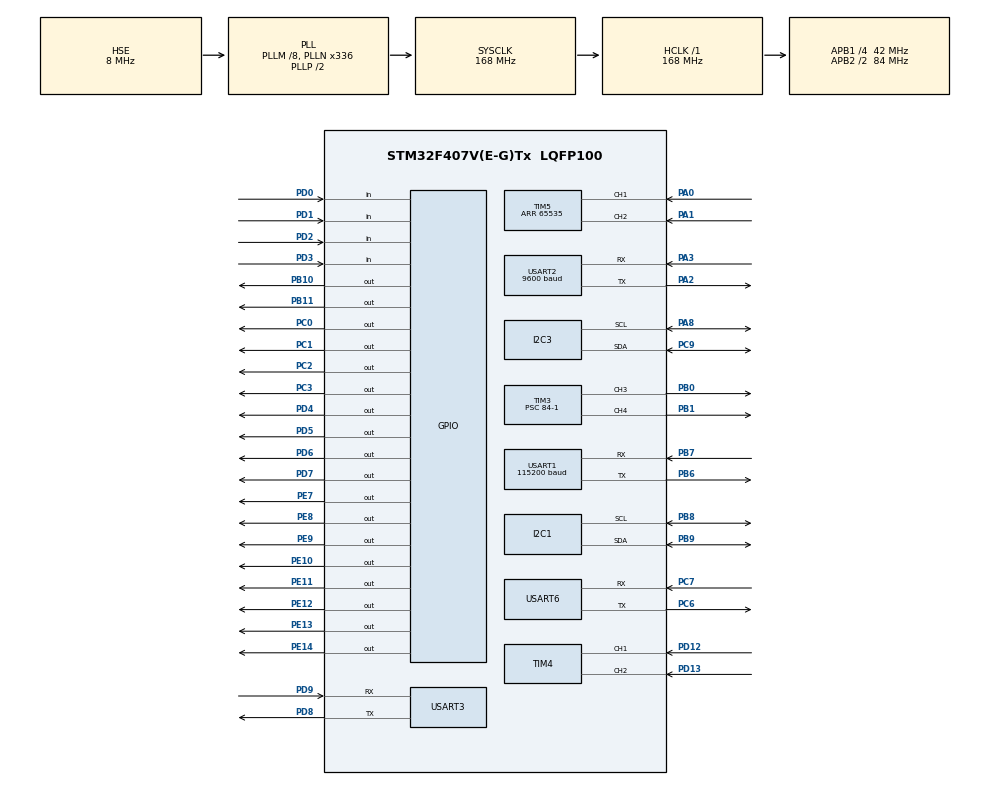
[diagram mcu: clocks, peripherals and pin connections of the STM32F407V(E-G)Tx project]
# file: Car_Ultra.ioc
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Mcu.Family=STM32F4
Mcu.Name=STM32F407V(E-G)Tx
Mcu.Package=LQFP100
NVIC.PriorityGroup=NVIC_PRIORITYGROUP_4
NVIC.TIM1_BRK_TIM9_IRQn=true\:0\:0\:false\:false\:true\:true\:true\:true
NVIC.TIM2_IRQn=true\:0\:0\:false\:false\:true\:true\:true\:true
NVIC.TIM3_IRQn=true\:0\:0\:false\:false\:true\:true\:true\:true
NVIC.TIM8_BRK_TIM12_IRQn=true\:0\:0\:false\:false\:true\:true\:true\:true
NVIC.TIM8_UP_TIM13_IRQn=true\:0\:0\:false\:false\:true\:true\:true\:true
NVIC.USART1_IRQn=true\:0\:0\:false\:false\:true\:true\:true\:true
NVIC.USART2_IRQn=true\:0\:0\:false\:false\:true\:true\:true\:true
NVIC.USART3_IRQn=true\:0\:0\:false\:false\:true\:true\:true\:true
PA0-WKUP.Signal=S_TIM5_CH1
PA1.Signal=S_TIM5_CH2
PA13.Mode=Trace_Synchro_1bit_SW
PA13.Signal=SYS_JTMS-SWDIO
PA14.Mode=Trace_Synchro_1bit_SW
PA14.Signal=SYS_JTCK-SWCLK
PA2.Mode=Asynchronous
PA2.Signal=USART2_TX
PA3.Mode=Asynchronous
PA3.Signal=USART2_RX
PA8.Mode=I2C
PA8.Signal=I2C3_SCL
PB0.Signal=S_TIM3_CH3
PB1.Signal=S_TIM3_CH4
PB10.Signal=GPIO_Output
PB11.Signal=GPIO_Output
PB6.Mode=Asynchronous
PB6.Signal=USART1_TX
PB7.Mode=Asynchronous
PB7.Signal=USART1_RX
PB8.Mode=I2C
PB8.Signal=I2C1_SCL
PB9.Mode=I2C
PB9.Signal=I2C1_SDA
PC0.Signal=GPIO_Output
PC1.Signal=GPIO_Output
PC2.Signal=GPIO_Output
PC3.Signal=GPIO_Output
PC6.Mode=Asynchronous
PC6.Signal=USART6_TX
PC7.Mode=Asynchronous
PC7.Signal=USART6_RX
PC9.Mode=I2C
PC9.Signal=I2C3_SDA
PD0.GPIO_PuPd=GPIO_NOPULL
PD0.Signal=GPIO_Input
PD1.GPIO_PuPd=GPIO_PULLUP
PD1.Signal=GPIO_Input
PD12.Signal=S_TIM4_CH1
PD13.Signal=S_TIM4_CH2
PD2.GPIO_PuPd=GPIO_PULLUP
PD2.Signal=GPIO_Input
PD3.GPIO_PuPd=GPIO_PULLUP
PD3.Signal=GPIO_Input
PD4.GPIO_PuPd=GPIO_PULLUP
PD4.Signal=GPIO_Output
PD5.Signal=GPIO_Output
PD6.Signal=GPIO_Output
PD7.Signal=GPIO_Output
PD8.Mode=Asynchronous
PD8.Signal=USART3_TX
PD9.Mode=Asynchronous
PD9.Signal=USART3_RX
PE10.Signal=GPIO_Output
PE11.Signal=GPIO_Output
PE12.Signal=GPIO_Output
PE13.Signal=GPIO_Output
PE14.Signal=GPIO_Output
PE2.Mode=Trace_Synchro_1bit_SW
PE2.Signal=SYS_TRACECLK
PE3.Mode=Trace_Synchro_1bit_SW
PE3.Signal=SYS_TRACED0
PE7.Signal=GPIO_Output
PE8.Signal=GPIO_Output
PE9.Signal=GPIO_Output
PH0-OSC_IN.Mode=HSE-External-Oscillator
PH0-OSC_IN.Signal=RCC_OSC_IN
PH1-OSC_OUT.Mode=HSE-External-Oscillator
PH1-OSC_OUT.Signal=RCC_OSC_OUT
ProjectManager.HeapSize=0x200
ProjectManager.StackSize=0x400
ProjectManager.TargetToolchain=MDK-ARM V5.32
RCC.48MHZClocksFreq_Value=84000000
RCC.AHBFreq_Value=168000000
RCC.APB1CLKDivider=RCC_HCLK_DIV4
RCC.APB1Freq_Value=42000000
RCC.APB1TimFreq_Value=84000000
RCC.APB2CLKDivider=RCC_HCLK_DIV2
RCC.APB2Freq_Value=84000000
RCC.APB2TimFreq_Value=168000000
RCC.CortexFreq_Value=168000000
RCC.HCLKFreq_Value=168000000
RCC.HSE_VALUE=8000000
RCC.HSI_VALUE=16000000
RCC.LSE_VALUE=32768
RCC.PLLM=8
RCC.PLLN=336
RCC.PLLSourceVirtual=RCC_PLLSOURCE_HSE
RCC.SYSCLKFreq_VALUE=168000000
RCC.SYSCLKSource=RCC_SYSCLKSOURCE_PLLCLK
RCC.VCOOutputFreq_Value=336000000
SH.S_TIM3_CH3.0=TIM3_CH3,PWM Generation3 CH3
SH.S_TIM3_CH4.0=TIM3_CH4,PWM Generation4 CH4
SH.S_TIM4_CH1.0=TIM4_CH1,Encoder_Interface
SH.S_TIM4_CH2.0=TIM4_CH2,Encoder_Interface
SH.S_TIM5_CH1.0=TIM5_CH1,Encoder_Interface
SH.S_TIM5_CH2.0=TIM5_CH2,Encoder_Interface
TIM2.AutoReloadPreload=TIM_AUTORELOAD_PRELOAD_DISABLE
TIM2.Period=10000
TIM2.Prescaler=84-1
TIM3.AutoReloadPreload=TIM_AUTORELOAD_PRELOAD_DISABLE
TIM3.Channel-PWM\ Generation3\ CH3=TIM_CHANNEL_3
TIM3.Channel-PWM\ Generation4\ CH4=TIM_CHANNEL_4
TIM3.Period=10000-1
TIM3.Prescaler=84-1
TIM4.EncoderMode=TIM_ENCODERMODE_TI12
TIM5.EncoderMode=TIM_ENCODERMODE_TI12
TIM5.Period=65535
TIM8.Period=1000-1
TIM8.Prescaler=84-1
TIM9.Period=100-1
TIM9.Prescaler=84-1
USART1.BaudRate=115200
USART1.VirtualMode=VM_ASYNC
USART2.BaudRate=9600
USART2.VirtualMode=VM_ASYNC
USART3.VirtualMode=VM_ASYNC
USART6.VirtualMode=VM_ASYNC
VP_TIM2_VS_ClockSourceINT.Mode=Internal
VP_TIM3_VS_ClockSourceINT.Mode=Internal
VP_TIM8_VS_ClockSourceINT.Mode=Internal
VP_TIM9_VS_ClockSourceINT.Mode=Internal
board=custom

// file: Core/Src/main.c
/* USER CODE BEGIN Header */
/**
  ******************************************************************************
  * @file           : main.c
  * @brief          : Main program body
  ******************************************************************************
  * @attention
  *
  * Copyright (c) 2024 STMicroelectronics.
  * All rights reserved.
  *
  * This software is licensed under terms that can be found in the LICENSE file
  * in the root directory of this software component.
  * If no LICENSE file comes with this software, it is provided AS-IS.
  *
  ******************************************************************************
  */
/* USER CODE END Header */
#include "main.h"
#include "i2c.h"
#include "tim.h"
#include "usart.h"
#include "gpio.h"

/* USER CODE BEGIN Includes */
#include "L298N.h"
#include <stdio.h>
#include <String.h>
#include "OLED.h"
#include "vofa.h"
#include "matrix_keyboard.h"
#include "convert.h"
#include "pid.h"
#include "HuiDu.h"
#include "interrupt.h"
#include "mpuiic.h"
#include "mpu6050.h"
#include "IMU_FLITER.h"
#include "Delay.h"
/* USER CODE END Includes */

void SystemClock_Config(void);

/* USER CODE BEGIN 0 */

  uint8_t data[] = 0X60;
  float temperature;
  float Turn_angle;
  extern float GX,GY,GZ;

  int road_flag;
  int move_flag;
  int road;

  extern int right_counter;//右轮前转--，后转++
  extern int left_counter;//左轮前转++ 后转--

  extern float Kp_x_v;
  extern float Ki_x_v;
  extern float Kd_x_v;
  extern int line_flag;
  extern int stop;
  extern int target;
  extern int speed_pwm;
	int counter;
  int counter_flag;
  int turn_flag=0;
  int turn_flag1=0;
  extern int cv_x;
  extern int cv_y;

  int liucheng=0;
  int mubiao;
  int mubiao1;
  int dir;
  int dir1;
  extern int target1;

  int stop_flag=0;
  extern int ori;
  extern int theta;

  int mubiao_flag;
  int mubiao1_flag=-1;
  int mubiao_BF;
  int mubiao_x;
  int time;
  int dir_buff;

/* USER CODE END 0 */

int main(void)
{

  /* MCU Configuration--------------------------------------------------------*/

  /* Reset of all peripherals, Initializes the Flash interface and the Systick. */
  HAL_Init();

  /* Configure the system clock */
  SystemClock_Config();

  /* Initialize all configured peripherals */
  MX_GPIO_Init();
  MX_I2C1_Init();
  MX_I2C3_Init();
  MX_TIM2_Init();
  MX_TIM3_Init();
  MX_TIM4_Init();
  MX_TIM5_Init();
  MX_USART1_UART_Init();
  MX_USART2_UART_Init();
  MX_USART3_UART_Init();
  MX_USART6_UART_Init();
  MX_TIM8_Init();
  MX_TIM9_Init();
  /* USER CODE BEGIN 2 */

  MPU_Init();

  OLED_Init();
  //HAL_UART_Receive_IT(&huart1, (uint8_t *)&k210_Tx, 1);
	HAL_UART_Receive_IT(&huart1,(uint8_t *)&USART1_NewData,1);
	HAL_UART_Receive_IT(&huart2,(uint8_t *)&USART2_NewData,1); //bluetooth
	HAL_UART_Receive_IT(&huart3,(uint8_t *)&USART3_NewData,1); //openmv
	// HAL_UART_Receive_IT(&huart6, (uint8_t *)&rx_buff, 1);   //k210

//	HAL_UART_Receive_IT(&huart2,(uint8_t *)&USART2_NewData,1);

  // HAL_TIM_Base_Start(&htim1);
  // HAL_TIM_Base_Start_IT(&htim1);
  //HAL_TIM_Base_Start(&htim2);
  HAL_TIM_Base_Start_IT(&htim2);

  HAL_TIM_PWM_Start(&htim3,TIM_CHANNEL_3);
  HAL_TIM_PWM_Start(&htim3,TIM_CHANNEL_4);
  HAL_TIM_Encoder_Start(&htim4, TIM_CHANNEL_ALL);
  HAL_TIM_Encoder_Start(&htim5, TIM_CHANNEL_ALL);
  __HAL_TIM_SET_COUNTER(&htim4, 15000);
  __HAL_TIM_SET_COUNTER(&htim5, 15000);
   HAL_TIM_Base_Start_IT(&htim8);
  // HAL_TIM_Base_Start(&htim8);
   HAL_TIM_Base_Start_IT(&htim9);
  // HAL_TIM_Base_Start(&htim9);
  __HAL_TIM_SET_COMPARE(&htim3, TIM_CHANNEL_3,1850);
  __HAL_TIM_SET_COMPARE(&htim3, TIM_CHANNEL_4,1900);

  OLED_Clear();
  HAL_Delay(1000);
// __HAL_TIM_CLEAR_IT(&htim2,TIM_IT_UPDATE ); //清除IT标志位
// __HAL_TIM_CLEAR_IT(&htim8,TIM_IT_UPDATE ); //清除IT标志位
// __HAL_TIM_CLEAR_IT(&htim9,TIM_IT_UPDATE ); //清除IT标志位
  /* USER CODE END 2 */

  /* Infinite loop */
  while (1)
  {

    /* USER CODE BEGIN 3 */
   Turn_angle=Angle_get();
   temperature=MPU_Get_Temperature();
	//TargetTracking();+

	//树莓派显示数字
    OLED_ShowNum(0,0,target,1,16); OLED_ShowNum(16,0,mubiao,1,16);OLED_ShowNum(32,0,mubiao1,1,16);OLED_ShowNum(48,0,HAL_GPIO_ReadPin(GPIOD,GPIO_PIN_0),1,16);
    OLED_ShowNum(0,2,road_flag,1,16);OLED_ShowNum(16,2,liucheng,2,16);OLED_ShowNum(48,2,dir,1,16);OLED_ShowNum(64,2,dir1,1,16);
    OLED_ShowNum(0,4,left_counter,5,16);OLED_ShowNum(64,4,right_counter,5,16);
    OLED_ShowNum(0,6,time,5,16);OLED_ShowNum(84,6,theta,5,16);

    //OLED_Showdecimal(0,4,Turn_angle,4,4,16);
    //OLED_Showdecimal(0,6,GX,2,2,16);OLED_Showdecimal(50,6,GY,2,2,16);OLED_Showdecimal(100,6,GZ,2,2,16);

    //HAL_UART_Transmit(&huart2, data, sizeof(data), HAL_MAX_DELAY);

	//OLED_Showdecimal(72,2,temperature,4,1,16);
 // OLED_Showdecimal(72,4,USART3_RX_STA,3,1,16);

	//灰度
  // OLED_ShowNum(0,6,L4,1,16);OLED_ShowNum(12,6,L3,1,16);OLED_ShowNum(24,6,L2,1,16);OLED_ShowNum(36,6,L1,1,16);
	// OLED_ShowNum(48,6,R1,1,16);OLED_ShowNum(60,6,R2,1,16);OLED_ShowNum(72,6,R3,1,16);OLED_ShowNum(84,6,R4,1,16);

  // int right_counter=__HAL_TIM_GET_COUNTER(&htim4);//右轮前转--，后转++
  // int left_counter=__HAL_TIM_GET_COUNTER(&htim5);//左轮前转++ 后转--

  if(dir_buff==1){dir=1;}

  if(mubiao_flag==0&&mubiao_BF!=0){

    mubiao=mubiao_BF;
    mubiao_flag=1;
    liucheng=-1;

  }

  if(liucheng==99){

    Forward();
  }

  if(liucheng!=0){time++;}

  mubiao1=mubiao_BF;
  //给一个病房
  if(liucheng==-1&&mubiao1==0){

    if(mubiao==1||mubiao==2){liucheng=1;}
    if(mubiao==3||mubiao==4||mubiao==5||mubiao==7||mubiao==6||mubiao==8){liucheng=10;}

}
  if(liucheng==1&&HAL_GPIO_ReadPin(GPIOD,GPIO_PIN_0)==0){

    move_wasd(1,60000);

   }

if(liucheng==22){

    if(mubiao==1&&mubiao_x<=50){  //找到目标病房
      mubiao1_flag=1;
      dir=1;
    }
    else if(mubiao==2&&mubiao_x>70){  //找到目标病房
      mubiao1_flag=1;
      dir=2;
    }

    if(mubiao1_flag==1){
      if(line_flag==0){Forward();}

      Line_Detection();
    }

}

  if(liucheng==2)
  { if(dir==1){ //病房在左
    if(target1!=2&&target1!=3){
    move_wasd(7,0);
    }
    }
    if(dir==2){  //病房在右
    if(target1!=2&&target1!=3){
    move_wasd(9,0);
    }
    }
  }

  //返程
  if(liucheng==3){

    move_wasd(1,64000);

  }

  if(liucheng==4){

  if(dir==1){ //病房在左 返回右拐

    if(target1!=2){
    move_wasd(9,0);
    }

    }
    if(dir==2){  //病房在右 返回左拐

    if(target1!=2){
    move_wasd(7,0);
    }

    }

  }

  //远端送药
  if(liucheng==10&&HAL_GPIO_ReadPin(GPIOD,GPIO_PIN_0)==0){

    if(target1!=11){
    move_wasd(1,56000);
    }
    // if(target1!=11){
    // move_wasd(1,51500);
    // }

  }

  if(liucheng==5){

    if(mubiao==mubiao1&&mubiao_x<=50){  //找到目标病房
      dir=1;
    }
    if(mubiao==mubiao1&&mubiao_x>70){  //找到目标病房
      dir=2;
    }

    if(time>200){move_wasd(1,63000);}

    if(dir!=0){
      Forward();
      Line_Detection();
    }
  }

  if(liucheng==6){
    if(dir==1){ //病房在左 返回右拐
    if(target1!=2){
    move_wasd(7,0);
    }

    }
    if(dir==2){  //病房在右 返回左拐

    if(target1!=2){
    move_wasd(9,0);
    }

    }

  }

  if(liucheng==11){
  if(stop_flag==0){Reset();stop_flag=1;}

  if(target1!=11){
  __HAL_TIM_SET_COMPARE(&htim3, TIM_CHANNEL_4,1850*1.2);
	__HAL_TIM_SET_COMPARE(&htim3, TIM_CHANNEL_3,1950*1.2);
    move_wasd(10,0);
    }

  if(mubiao==mubiao1){
    dir=1;dir_buff=1;
  }
  else{dir=2;}

  }

  if(liucheng==12){
  if(mubiao==mubiao1){
    dir=1;dir_buff=1;
    }
  else{dir=2;}

    move_wasd(11,0);
  }

  if(liucheng==13){

    move_wasd(2,0);

    Line_Detection();
  }

  if(liucheng==14){
    stop_flag=0;
    if(dir==1){ //病房在左
    if(target1!=2&&target1!=3){
    move_wasd(7,0);
    }
    }

    if(dir==2){  //病房在右
    if(target1!=2&&target1!=3){
    move_wasd(9,0);
    }
    }

  }
  if(liucheng==15){
    if(stop_flag==0){
    move_wasd(1,64200);}
    if(mubiao==mubiao1&&mubiao_x<=50){  //找到目标病房
      mubiao1_flag=1;
      dir1=1;
    }
    else if(mubiao==mubiao1&&mubiao_x>70){  //找到目标病房
      mubiao1_flag=1;
      dir1=2;
    }
    else if(mubiao!=mubiao1&&mubiao_x<=50){  //找到目标病房
      mubiao1_flag=1;
      dir1=2;
    }
    else if(mubiao!=mubiao1&&mubiao_x>50){  //找到目标病房
      mubiao1_flag=1;
      dir1=1;
    }
    if(mubiao1_flag==1&&time>80){
      if(stop_flag==11){stop_flag=12;Reset();}
      Forward();
      Line_Detection();
    }
  }
  if(liucheng==16){
  if(dir1==1){ //病房在左
    if(target1!=2&&target1!=3){
    move_wasd(7,0);
    }
    }
    if(dir1==2){  //病房在右
    if(target1!=2&&target1!=3){
    move_wasd(9,0);
    }
    }

  }

    //返程
  if(liucheng==17){

    if(stop_flag==0){
      move_wasd(1,64535);
    }
    if(stop_flag==1){
      //病房在左
      if(dir1==1){if(target1!=2&&target1!=3){move_wasd(9,0);}}
      //病房在右
      if(dir1==2){if(target1!=2&&target1!=3){move_wasd(7,0);}}
    }

  }
  if(liucheng==18){

      //病房在左
      if(dir==1){if(target1!=2&&target1!=7){move_wasd(9,0);}}
      //病房在右
      if(dir==2){if(target1!=2&&target1!=7){move_wasd(7,0);}}

  }

//直接走
	if(target1==1){
	Forward();
	}
	//直行一定距离 然后 //掉头
  if(target1==2){
   		move_flag=0;

      if(liucheng==14){road=40500;}
      else if(liucheng==2||liucheng==6){road=41000;}
      else if(liucheng==4){road=65535;}

      else if(liucheng==15){road=43000;}
      else if(liucheng==16){road=41000;}
      else if(liucheng==17){road=44500;}
      else if(liucheng==18){road=65535;
      Kp_x_v=4;  Ki_x_v=0.4;Kd_x_v=0;
      __HAL_TIM_SET_COMPARE(&htim3, TIM_CHANNEL_4,1850*2.5+speed_pwm);
	    __HAL_TIM_SET_COMPARE(&htim3, TIM_CHANNEL_3,1950*2.5-speed_pwm);}

      else{road=42000;}

  		if(counter_flag==0&&move_flag==0){
			Reset();
  			__HAL_TIM_SET_COUNTER(&htim4, 40000);
  			__HAL_TIM_SET_COUNTER(&htim5, 40000);
    		  counter_flag=1;
			}
    	if(left_counter>=road&&counter_flag==1&&left_counter<=road+500){Reset();move_flag=1;move_wasd(5,0);

		    if(liucheng==2||liucheng==6){if(stop_flag==0){Restart();HAL_Delay(200);stop_flag=1;}Reset();target1=3;}
		    if(liucheng==4){liucheng=5;}

		    if(liucheng==14){liucheng=15;}
        if(liucheng==16){target1=3;HAL_UART_Transmit(&huart2, data, sizeof(data), HAL_MAX_DELAY);}

        if(liucheng==17){target1=7;}

		}
    	else{if(move_flag==0){Forward();}}
  	}
	//转圈而已 &&药物放下后
	if(target1==3&&HAL_GPIO_ReadPin(GPIOD,GPIO_PIN_0)==1){
		  move_flag=0;

  		if(counter_flag==0){
  			__HAL_TIM_SET_COUNTER(&htim4, 30000);
  			__HAL_TIM_SET_COUNTER(&htim5, 30000);
        stop_flag=0;
      		counter_flag=1;
		}
		//(30000-left_counter)+(30000-right_counter)>=3000
 		if(left_counter<=28540&&counter_flag==1){Reset();move_flag=1;move_wasd(5,0);

		if(liucheng==2||liucheng==6){liucheng=3;}

		if(liucheng==16){liucheng=17;stop_flag=0;}

		}
		else{if(move_flag==0){zhuanquan();}}
	}

  if(target1==7){
		  move_flag=0;

  		if(counter_flag==0){
  			__HAL_TIM_SET_COUNTER(&htim4, 30000);
  			__HAL_TIM_SET_COUNTER(&htim5, 30000);
      		counter_flag=1;
		}
		//(30000-left_counter)+(30000-right_counter)>=3000
 		if(left_counter>=29000&&counter_flag==1&&left_counter<=31000){Reset();move_flag=1;move_wasd(5,0);

    if(liucheng==15){liucheng=16;}
		if(liucheng==17){liucheng=18;}

		}
		else{if(move_flag==0){Restart();}}

  }

	//左小转
	if(target1==11){
	move_flag=0;
	if(counter_flag==0){
	Reset();
  	__HAL_TIM_SET_COUNTER(&htim4, 30000);
  	__HAL_TIM_SET_COUNTER(&htim5, 30000);
	counter_flag=1;
	}

  if(left_counter<=29730&&counter_flag==1){move_wasd(5,0);counter_flag=0;move_flag=1;}
	else{if(move_flag==0){Left_light();}}
	}

	vodka_JustFloat_send(&huart6);   //vofa
}
  /* USER CODE END 3 */
}

void SystemClock_Config(void)
{
  RCC_OscInitTypeDef RCC_OscInitStruct = {0};
  RCC_ClkInitTypeDef RCC_ClkInitStruct = {0};

  /** Configure the main internal regulator output voltage
  */
  __HAL_RCC_PWR_CLK_ENABLE();
  __HAL_PWR_VOLTAGESCALING_CONFIG(PWR_REGULATOR_VOLTAGE_SCALE1);

  /** Initializes the RCC Oscillators according to the specified parameters
  * in the RCC_OscInitTypeDef structure.
  */
  RCC_OscInitStruct.OscillatorType = RCC_OSCILLATORTYPE_HSE;
  RCC_OscInitStruct.HSEState = RCC_HSE_ON;
  RCC_OscInitStruct.PLL.PLLState = RCC_PLL_ON;
  RCC_OscInitStruct.PLL.PLLSource = RCC_PLLSOURCE_HSE;
  RCC_OscInitStruct.PLL.PLLM = 8;
  RCC_OscInitStruct.PLL.PLLN = 336;
  RCC_OscInitStruct.PLL.PLLP = RCC_PLLP_DIV2;
  RCC_OscInitStruct.PLL.PLLQ = 4;
  if (HAL_RCC_OscConfig(&RCC_OscInitStruct) != HAL_OK)
  {
    Error_Handler();
  }

  /** Initializes the CPU, AHB and APB buses clocks
  */
  RCC_ClkInitStruct.ClockType = RCC_CLOCKTYPE_HCLK|RCC_CLOCKTYPE_SYSCLK
                              |RCC_CLOCKTYPE_PCLK1|RCC_CLOCKTYPE_PCLK2;
  RCC_ClkInitStruct.SYSCLKSource = RCC_SYSCLKSOURCE_PLLCLK;
  RCC_ClkInitStruct.AHBCLKDivider = RCC_SYSCLK_DIV1;
  RCC_ClkInitStruct.APB1CLKDivider = RCC_HCLK_DIV4;
  RCC_ClkInitStruct.APB2CLKDivider = RCC_HCLK_DIV2;

  if (HAL_RCC_ClockConfig(&RCC_ClkInitStruct, FLASH_LATENCY_5) != HAL_OK)
  {
    Error_Handler();
  }
}

void Error_Handler(void)
{
  __disable_irq();
  while (1)
  {
  }
}
